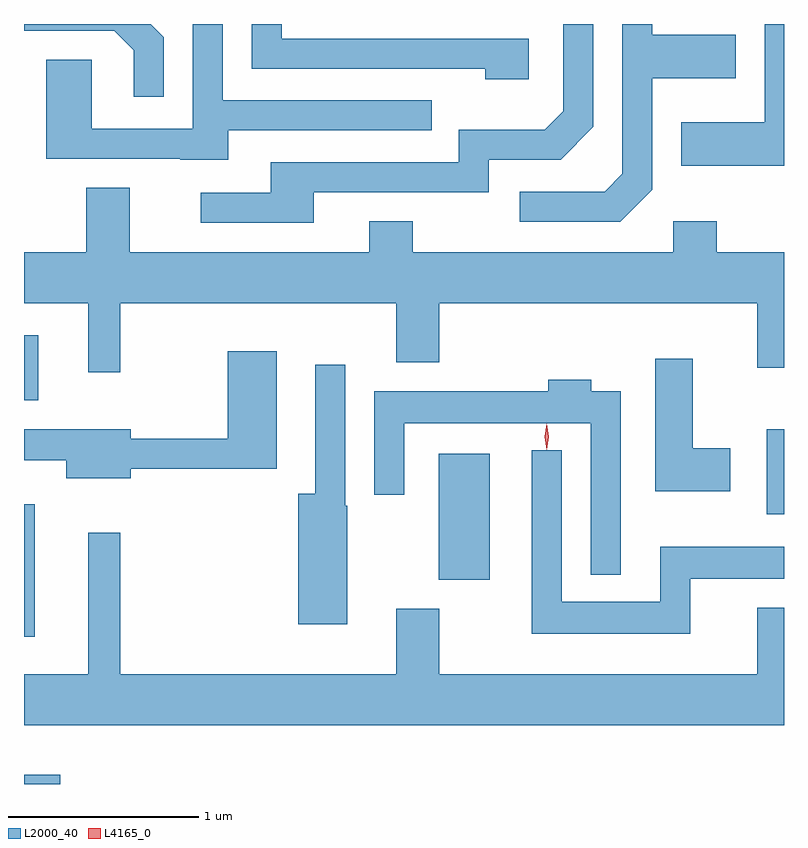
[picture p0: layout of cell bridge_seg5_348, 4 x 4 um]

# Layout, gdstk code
import gdstk
lib = gdstk.Library(unit=1e-6, precision=1e-09)
def R(c, l, rs):  # rectangles x0, y0, x1, y1
    for r in rs: c.add(gdstk.rectangle(r[:2], r[2:], *l))
def P(c, l, *ps):  # polygons
    for p in ps: c.add(gdstk.Polygon(p, *l))
L2000_40 = (2000, 40)
L4165_0 = (4165, 0)

bridge_seg5_348 = lib.new_cell('bridge_seg5_348')
R(bridge_seg5_348, L2000_40, [(546.453,1518.646,546.644,1518.694), (546.453,1519.421,546.509,1520.119), (548.636,1519.721,548.904,1520.384), (550.361,1520.066,550.453,1520.514), (546.453,1520.666,546.529,1521.009)])
P(bridge_seg5_348, L2000_40, [(550.453,1522.646),(550.351,1522.646),(550.351,1522.129),(549.911,1522.129),(549.911,1521.901),(550.453,1521.901)],
  [(549.759,1521.774),(549.759,1522.361),(550.199,1522.361),(550.199,1522.589),(549.759,1522.589),(549.759,1522.646),(549.601,1522.646),(549.601,1521.857),(549.509,1521.764),(549.063,1521.764),(549.063,1521.606),(549.592,1521.606)],
  [(547.189,1522.577),(547.12,1522.646),(546.453,1522.646),(546.453,1522.611),(546.929,1522.611),(547.031,1522.509),(547.031,1522.263),(547.189,1522.263)],
  [(549.109,1522.569),(547.809,1522.569),(547.809,1522.646),(547.651,1522.646),(547.651,1522.411),(548.881,1522.411),(548.881,1522.356),(549.109,1522.356)],
  [(547.979,1521.761),(548.899,1521.761),(548.899,1521.931),(549.277,1521.931),(549.449,1522.104),(549.449,1522.646),(549.291,1522.646),(549.291,1522.187),(549.194,1522.089),(548.741,1522.089),(548.741,1521.919),(547.751,1521.919),(547.751,1521.759),(547.383,1521.759),(547.383,1521.601),(547.979,1521.601)],
  [(547.529,1522.086),(548.598,1522.086),(548.598,1522.244),(547.499,1522.244),(547.499,1522.646),(547.341,1522.646),(547.341,1522.094),(546.809,1522.094),(546.809,1522.459),(546.571,1522.459),(546.571,1521.936),(547.275,1521.936),(547.275,1521.931),(547.529,1521.931)],
  [(548.411,1520.866),(548.639,1520.866),(548.639,1521.176),(550.311,1521.176),(550.311,1520.836),(550.453,1520.836),(550.453,1521.444),(550.099,1521.444),(550.099,1521.609),(549.871,1521.609),(549.871,1521.444),(548.499,1521.444),(548.499,1521.609),(548.271,1521.609),(548.271,1521.444),(547.009,1521.444),(547.009,1521.784),(546.781,1521.784),(546.781,1521.444),(546.453,1521.444),(546.453,1521.176),(546.791,1521.176),(546.791,1520.813),(546.959,1520.813),(546.959,1521.176),(548.411,1521.176)],
  [(547.014,1520.306),(547.784,1520.306),(547.784,1520.924),(547.526,1520.924),(547.526,1520.464),(547.014,1520.464),(547.014,1520.514),(546.453,1520.514),(546.453,1520.351),(546.676,1520.351),(546.676,1520.256),(547.014,1520.256)],
  [(550.169,1520.414),(549.974,1520.414),(549.974,1520.884),(549.776,1520.884),(549.776,1520.186),(550.169,1520.186)],
  [(548.154,1520.11),(548.144,1520.11),(548.144,1520.853),(547.986,1520.853),(547.986,1520.174),(547.896,1520.174),(547.896,1519.486),(548.154,1519.486)],
  [(549.594,1520.714),(549.439,1520.714),(549.439,1520.774),(549.211,1520.774),(549.211,1520.714),(548.296,1520.714),(548.296,1520.168),(548.454,1520.168),(548.454,1520.546),(549.436,1520.546),(549.436,1519.748),(549.594,1519.748)],
  [(549.959,1519.726),(550.453,1519.726),(550.453,1519.894),(549.801,1519.894),(549.801,1519.604),(549.284,1519.604),(549.284,1520.403),(549.126,1520.403),(549.126,1519.436),(549.959,1519.436)],
  [(548.411,1519.569),(548.411,1519.224),(546.959,1519.224),(546.959,1519.968),(546.791,1519.968),(546.791,1519.224),(546.453,1519.224),(546.453,1518.956),(550.453,1518.956),(550.453,1519.574),(550.311,1519.574),(550.311,1519.224),(548.639,1519.224),(548.639,1519.569)])
P(bridge_seg5_348, L4165_0, [(549.203,1520.407),(549.194,1520.474),(549.203,1520.54),(549.204,1520.54),(549.204,1520.54),(549.214,1520.474),(549.204,1520.407),(549.204,1520.407)],
  [(549.203,1520.404),(549.194,1520.474),(549.203,1520.542),(549.204,1520.543),(549.204,1520.542),(549.214,1520.474),(549.204,1520.404),(549.204,1520.404)])

lib.write_gds('bridge_seg5_348.gds')
